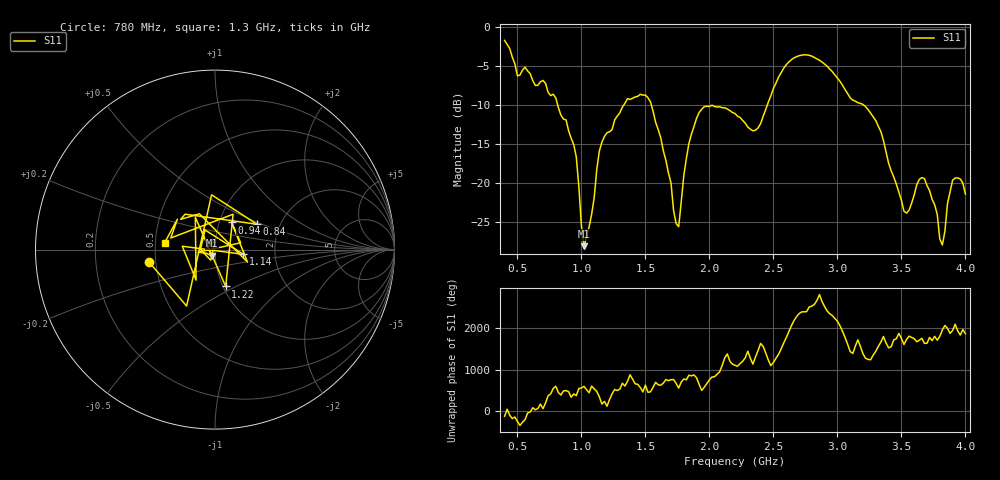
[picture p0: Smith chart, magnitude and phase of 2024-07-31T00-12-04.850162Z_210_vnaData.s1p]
!Created with skrf (http://scikit-rf.org).
# Hz S RI R 50.0
!freq ReS11 ImS11
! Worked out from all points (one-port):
!   181 points, 400 MHz to 4 GHz, reference 50 ohm
!   lowest |S11| = -28.1 dB at 1.02 GHz (marker M1), VSWR 1.08, Z = 48 - j3.32 ohm
!   |S11| at or under -10 dB: 815.2 MHz to 1.33 GHz (514.6 MHz wide, 48 % of centre); 1.547 GHz to 2.019 GHz (471.4 MHz wide, 26.4 % of centre); 3.208 GHz to end of sweep (the widest 3 of 4)
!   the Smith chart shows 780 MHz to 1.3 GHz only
!   S11 on the Smith chart (normalised r, x): 780 MHz: 0.46, -0.08; 840 MHz: 1.53, +0.47; 940 MHz: 1.14, +0.36; 1.14 GHz: 1.37, -0.07; 1.22 GHz: 1.03, -0.44; 1.3 GHz: 0.56, +0.05
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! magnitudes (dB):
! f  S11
! 400 MHz  -1.7
! 500 MHz  -6.2
! 780 MHz  -8.6
! 840 MHz  -11.3
! 860 MHz  -11.8
! 940 MHz  -15.0
! 960 MHz  -16.6
! 1.02 GHz  -28.1
! 1.08 GHz  -24.0
! 1.14 GHz  -15.9
! 1.22 GHz  -13.4
! 1.3 GHz  -11.0
! 1.54 GHz  -9.6
! 1.76 GHz  -25.6
! 1.84 GHz  -14.9
! 1.92 GHz  -10.9
! 2.2 GHz  -11.1
! 2.38 GHz  -12.9
! 2.66 GHz  -3.9
! 2.88 GHz  -4.5
! 3.1 GHz  -9.0
! 3.3 GHz  -12.0
! 3.52 GHz  -23.6
! 3.56 GHz  -23.4
! 3.68 GHz  -19.4
! 3.82 GHz  -27.9
! 3.9 GHz  -19.6
! 4 GHz  -21.4
